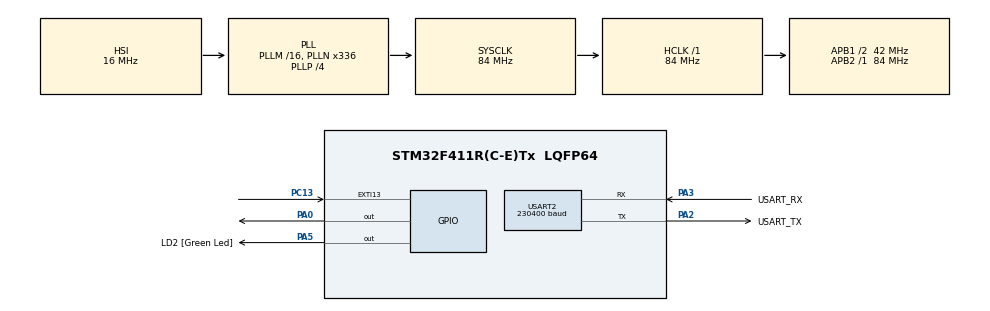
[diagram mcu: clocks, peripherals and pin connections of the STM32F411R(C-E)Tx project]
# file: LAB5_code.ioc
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Dma.Request0=USART2_RX
Dma.Request1=USART2_TX
Dma.USART2_RX.0.Direction=DMA_PERIPH_TO_MEMORY
Dma.USART2_RX.0.FIFOMode=DMA_FIFOMODE_DISABLE
Dma.USART2_RX.0.Instance=DMA1_Stream5
Dma.USART2_RX.0.MemDataAlignment=DMA_MDATAALIGN_BYTE
Dma.USART2_RX.0.MemInc=DMA_MINC_ENABLE
Dma.USART2_RX.0.Mode=DMA_CIRCULAR
Dma.USART2_RX.0.PeriphDataAlignment=DMA_PDATAALIGN_BYTE
Dma.USART2_RX.0.PeriphInc=DMA_PINC_DISABLE
Dma.USART2_RX.0.Priority=DMA_PRIORITY_LOW
Dma.USART2_TX.1.Direction=DMA_MEMORY_TO_PERIPH
Dma.USART2_TX.1.FIFOMode=DMA_FIFOMODE_DISABLE
Dma.USART2_TX.1.Instance=DMA1_Stream6
Dma.USART2_TX.1.MemDataAlignment=DMA_MDATAALIGN_BYTE
Dma.USART2_TX.1.MemInc=DMA_MINC_ENABLE
Dma.USART2_TX.1.Mode=DMA_NORMAL
Dma.USART2_TX.1.PeriphDataAlignment=DMA_PDATAALIGN_BYTE
Dma.USART2_TX.1.PeriphInc=DMA_PINC_DISABLE
Dma.USART2_TX.1.Priority=DMA_PRIORITY_LOW
Mcu.Family=STM32F4
Mcu.Name=STM32F411R(C-E)Tx
Mcu.Package=LQFP64
NVIC.DMA1_Stream5_IRQn=true\:0\:0\:false\:false\:true\:false\:true\:true
NVIC.DMA1_Stream6_IRQn=true\:0\:0\:false\:false\:true\:false\:true\:true
NVIC.PriorityGroup=NVIC_PRIORITYGROUP_0
NVIC.USART2_IRQn=true\:0\:0\:false\:false\:true\:true\:true\:true
PA0-WKUP.Signal=GPIO_Output
PA13.GPIO_Label=TMS
PA13.Mode=Serial_Wire
PA13.Signal=SYS_JTMS-SWDIO
PA14.GPIO_Label=TCK
PA14.Mode=Serial_Wire
PA14.Signal=SYS_JTCK-SWCLK
PA2.GPIO_Label=USART_TX
PA2.Mode=Asynchronous
PA2.Signal=USART2_TX
PA3.GPIO_Label=USART_RX
PA3.Mode=Asynchronous
PA3.Signal=USART2_RX
PA5.GPIO_Label=LD2 [Green Led]
PA5.Signal=GPIO_Output
PB3.GPIO_Label=SWO
PB3.Signal=SYS_JTDO-SWO
PC13-ANTI_TAMP.GPIO_ModeDefaultEXTI=GPIO_MODE_IT_FALLING
PC13-ANTI_TAMP.Signal=GPXTI13
PC14-OSC32_IN.Mode=LSE-External-Oscillator
PC14-OSC32_IN.Signal=RCC_OSC32_IN
PC15-OSC32_OUT.Mode=LSE-External-Oscillator
PC15-OSC32_OUT.Signal=RCC_OSC32_OUT
PH0\ -\ OSC_IN.Mode=HSE-External-Clock-Source
PH0\ -\ OSC_IN.Signal=RCC_OSC_IN
PH1\ -\ OSC_OUT.Mode=HSE-External-Clock-Source
PH1\ -\ OSC_OUT.Signal=RCC_OSC_OUT
ProjectManager.HeapSize=0x200
ProjectManager.StackSize=0x400
ProjectManager.TargetToolchain=STM32CubeIDE
RCC.48MHZClocksFreq_Value=84000000
RCC.AHBFreq_Value=84000000
RCC.APB1CLKDivider=RCC_HCLK_DIV2
RCC.APB1Freq_Value=42000000
RCC.APB1TimFreq_Value=84000000
RCC.APB2Freq_Value=84000000
RCC.APB2TimFreq_Value=84000000
RCC.CortexFreq_Value=84000000
RCC.FLatency-AdvancedSettings=FLASH_LATENCY_2
RCC.HCLKFreq_Value=84000000
RCC.HSE_VALUE=8000000
RCC.HSI_VALUE=16000000
RCC.PLLN=336
RCC.PLLP=RCC_PLLP_DIV4
RCC.SYSCLKFreq_VALUE=84000000
RCC.SYSCLKSource=RCC_SYSCLKSOURCE_PLLCLK
RCC.VCOOutputFreq_Value=336000000
USART2.BaudRate=230400
USART2.Parity=PARITY_EVEN
USART2.StopBits=STOPBITS_2
USART2.VirtualMode=VM_ASYNC
USART2.WordLength=WORDLENGTH_9B
board=NUCLEO-F411RE

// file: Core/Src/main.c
/* USER CODE BEGIN Header */
/**
  ******************************************************************************
  * @file           : main.c
  * @brief          : Main program body
  ******************************************************************************
  * @attention
  *
  * Copyright (c) 2023 STMicroelectronics.
  * All rights reserved.
  *
  * This software is licensed under terms that can be found in the LICENSE file
  * in the root directory of this software component.
  * If no LICENSE file comes with this software, it is provided AS-IS.
  *
  ******************************************************************************
  */
/* USER CODE END Header */
#include "main.h"

/* USER CODE BEGIN Includes */
#include "stdio.h"
#include "string.h"
/* USER CODE END Includes */

UART_HandleTypeDef huart2;
DMA_HandleTypeDef hdma_usart2_rx;
DMA_HandleTypeDef hdma_usart2_tx;

/* USER CODE BEGIN PV */
uint8_t RxBuffer[20]; //start_bit+massage_bit+(stop_bit x2) //add another 1 bit for make sure that have enough space for bits
uint8_t TxBuffer[60];
uint8_t text1[200];
uint8_t text2[200];
uint8_t text3[60];
uint8_t text4[21];
uint8_t text5[55];
//float time_to_trick ;
int count_hz = 0;
int x;
int j = 1;
//int count_hz ;
//int x;
//uint32_t count_hz;
//int time_to_trick ;
//int time_sec_hz;
//int time_to_trick ;
//int time_sec_hz ;
//int x;

//int mode = 0;
//uint32_t control_hz;
int8_t p;
int8_t on_off = 1;
uint32_t time_to_trick;
uint8_t state;
//uint8_t count_hz = 0;
//uint32_t time_to_trick;

enum Status{select_mode,LED_Control,button_status};

enum Status status = select_mode;

//uint32_t mode = 0;
/* USER CODE END PV */

void SystemClock_Config(void);
static void MX_GPIO_Init(void);
static void MX_DMA_Init(void);
static void MX_USART2_UART_Init(void);
/* USER CODE BEGIN PFP */
void Dummytask();
void uartdmaconfig();
void mode();
void button_loop();
/* USER CODE END PFP */

int main(void)
{

  /* MCU Configuration--------------------------------------------------------*/

  /* Reset of all peripherals, Initializes the Flash interface and the Systick. */
  HAL_Init();

  /* Configure the system clock */
  SystemClock_Config();

  /* Initialize all configured peripherals */
  MX_GPIO_Init();
  MX_DMA_Init();
  MX_USART2_UART_Init();
  /* USER CODE BEGIN 2 */
//uint8_t text[] = "HELLO BEST";
//HAL_UART_Transmit(&huart2, text, 11, 10);
//sprintf((char*)TxBuffer,"  Choose your menu\r\n-----------------\r\n{0} LED Control\r\n{1} Button Status\r\n-------------------\r\n\r\n\r\n\r\n\r\n");
//HAL_UART_Transmit_IT(&huart2, TxBuffer, strlen((char*)TxBuffer));
//uartdmaconfig();

  /* USER CODE END 2 */

  /* Infinite loop */
  /* USER CODE BEGIN WHILE */
  sprintf((char*)text1,"Choose your menu\n\r*******************\r\n(0) LED Control\r\n(1) Button Status\r\n*******************\r\nAnd Don't Forget it!!!!\r\n\r\n\r\n\r\n");
  HAL_UART_Transmit_IT( &huart2, text1, strlen((char*)text1));
  //uartdmaconfig();
  while (1)
  {
	  //mode();
	  Dummytask();
//	  uartdmaconfig();
	  uartdmaconfig();
	  HAL_GPIO_TogglePin(GPIOA, GPIO_PIN_0);
//	  mode();
	  //uartdmaconfig();
    /* USER CODE END WHILE */

  }
}

void SystemClock_Config(void)
{
  RCC_OscInitTypeDef RCC_OscInitStruct = {0};
  RCC_ClkInitTypeDef RCC_ClkInitStruct = {0};

  /** Configure the main internal regulator output voltage
  */
  __HAL_RCC_PWR_CLK_ENABLE();
  __HAL_PWR_VOLTAGESCALING_CONFIG(PWR_REGULATOR_VOLTAGE_SCALE1);

  /** Initializes the RCC Oscillators according to the specified parameters
  * in the RCC_OscInitTypeDef structure.
  */
  RCC_OscInitStruct.OscillatorType = RCC_OSCILLATORTYPE_HSI;
  RCC_OscInitStruct.HSIState = RCC_HSI_ON;
  RCC_OscInitStruct.HSICalibrationValue = RCC_HSICALIBRATION_DEFAULT;
  RCC_OscInitStruct.PLL.PLLState = RCC_PLL_ON;
  RCC_OscInitStruct.PLL.PLLSource = RCC_PLLSOURCE_HSI;
  RCC_OscInitStruct.PLL.PLLM = 16;
  RCC_OscInitStruct.PLL.PLLN = 336;
  RCC_OscInitStruct.PLL.PLLP = RCC_PLLP_DIV4;
  RCC_OscInitStruct.PLL.PLLQ = 4;
  if (HAL_RCC_OscConfig(&RCC_OscInitStruct) != HAL_OK)
  {
    Error_Handler();
  }

  /** Initializes the CPU, AHB and APB buses clocks
  */
  RCC_ClkInitStruct.ClockType = RCC_CLOCKTYPE_HCLK|RCC_CLOCKTYPE_SYSCLK
                              |RCC_CLOCKTYPE_PCLK1|RCC_CLOCKTYPE_PCLK2;
  RCC_ClkInitStruct.SYSCLKSource = RCC_SYSCLKSOURCE_PLLCLK;
  RCC_ClkInitStruct.AHBCLKDivider = RCC_SYSCLK_DIV1;
  RCC_ClkInitStruct.APB1CLKDivider = RCC_HCLK_DIV2;
  RCC_ClkInitStruct.APB2CLKDivider = RCC_HCLK_DIV1;

  if (HAL_RCC_ClockConfig(&RCC_ClkInitStruct, FLASH_LATENCY_2) != HAL_OK)
  {
    Error_Handler();
  }
}

static void MX_USART2_UART_Init(void)
{

  huart2.Instance = USART2;
  huart2.Init.BaudRate = 230400;
  huart2.Init.WordLength = UART_WORDLENGTH_9B;
  huart2.Init.StopBits = UART_STOPBITS_2;
  huart2.Init.Parity = UART_PARITY_EVEN;
  huart2.Init.Mode = UART_MODE_TX_RX;
  huart2.Init.HwFlowCtl = UART_HWCONTROL_NONE;
  huart2.Init.OverSampling = UART_OVERSAMPLING_16;
  if (HAL_UART_Init(&huart2) != HAL_OK)
  {
    Error_Handler();
  }

}

static void MX_DMA_Init(void)
{

  /* DMA controller clock enable */
  __HAL_RCC_DMA1_CLK_ENABLE();

  /* DMA interrupt init */
  /* DMA1_Stream5_IRQn interrupt configuration */
  HAL_NVIC_SetPriority(DMA1_Stream5_IRQn, 0, 0);
  HAL_NVIC_EnableIRQ(DMA1_Stream5_IRQn);
  /* DMA1_Stream6_IRQn interrupt configuration */
  HAL_NVIC_SetPriority(DMA1_Stream6_IRQn, 0, 0);
  HAL_NVIC_EnableIRQ(DMA1_Stream6_IRQn);

}

static void MX_GPIO_Init(void)
{
  GPIO_InitTypeDef GPIO_InitStruct = {0};

  /* GPIO Ports Clock Enable */
  __HAL_RCC_GPIOC_CLK_ENABLE();
  __HAL_RCC_GPIOH_CLK_ENABLE();
  __HAL_RCC_GPIOA_CLK_ENABLE();
  __HAL_RCC_GPIOB_CLK_ENABLE();

  /*Configure GPIO pin Output Level */
  HAL_GPIO_WritePin(GPIOA, GPIO_PIN_0|LD2_Pin, GPIO_PIN_RESET);

  /*Configure GPIO pin : PC13 */
  GPIO_InitStruct.Pin = GPIO_PIN_13;
  GPIO_InitStruct.Mode = GPIO_MODE_IT_FALLING;
  GPIO_InitStruct.Pull = GPIO_NOPULL;
  HAL_GPIO_Init(GPIOC, &GPIO_InitStruct);

  /*Configure GPIO pins : PA0 LD2_Pin */
  GPIO_InitStruct.Pin = GPIO_PIN_0|LD2_Pin;
  GPIO_InitStruct.Mode = GPIO_MODE_OUTPUT_PP;
  GPIO_InitStruct.Pull = GPIO_NOPULL;
  GPIO_InitStruct.Speed = GPIO_SPEED_FREQ_LOW;
  HAL_GPIO_Init(GPIOA, &GPIO_InitStruct);

}

/* USER CODE BEGIN 4 */
void Dummytask()
{
//		if (x<=0){
//			x = 0;
//			count_hz = 0;
//		}
		uint32_t time_sec_hz ;
		uint32_t time_to_trick;
		time_sec_hz = 1000/count_hz;
		time_to_trick = time_sec_hz/2;
		static uint32_t timestamp=0;
			if(HAL_GetTick()>=timestamp && on_off == 1 ){
				timestamp = HAL_GetTick()+ time_to_trick; //+100 = 5hz because on&off used 200ms ->1000/200 s = 5 cycle = 5hz
				//timestamp = HAL_GetTick()+ 500;
				HAL_GPIO_TogglePin(LD2_GPIO_Port, LD2_Pin);
//				if(p != 1 ){
//					sprintf((char*)TxBuffer,"On LED now.. \r\n ");
//					//p = on_off;
//					HAL_UART_Transmit_DMA(&huart2, TxBuffer, strlen((char*)TxBuffer));
//				}
				//p = on_off;
			}
			else if (on_off != 1) {
//				p = on_off;
				HAL_GPIO_WritePin(GPIOA, GPIO_PIN_5 , GPIO_PIN_RESET);
				sprintf((char*)TxBuffer,"Sorry LED out of service right now... \r\n ");
//				p = on_off;
				HAL_UART_Transmit_DMA(&huart2, TxBuffer, strlen((char*)TxBuffer));
				//p = on_off;
			}
//			p = on_off;
	}

//void uartdmaconfig(){
//	HAL_UART_Receive_DMA(&huart2, RxBuffer, 1);
//
//}

void uartdmaconfig(){
	//start  UART in DMA Mode
	HAL_UART_Receive_DMA(&huart2, RxBuffer, 1);
	state = HAL_GPIO_ReadPin(GPIOC, GPIO_PIN_13);

	if (RxBuffer[0] == '1' ){
			state = HAL_GPIO_ReadPin(GPIOC, GPIO_PIN_13);
			if(!state){
				//sprintf((char*)TxBuffer,"Received : Press \r\n");
				//HAL_UART_Transmit_IT(&huart2, TxBuffer, strlen((char*)TxBuffer));
				sprintf((char*)TxBuffer,"Received :   press \r\n");
				HAL_UART_Transmit_DMA(&huart2, TxBuffer, strlen((char*)TxBuffer));
			}
			else if(state){
				sprintf((char*)TxBuffer,"Received : Unpress \r\n");
				HAL_UART_Transmit_DMA(&huart2, TxBuffer, strlen((char*)TxBuffer));
			}if(RxBuffer[0] == 'x'){
				if( TxBuffer[20] == '\n' && TxBuffer[11]=='M'){
//				sprintf((char*)TxBuffer,"Back                                            ");
//				HAL_UART_Transmit_IT(&huart2, TxBuffer, strlen((char*)TxBuffer));
//				sprintf((char*)TxBuffer,"Select Menu 1/0 \r\n");
//				HAL_UART_Transmit_IT(&huart2, TxBuffer, strlen((char*)TxBuffer));
					TxBuffer[0] = '\000';TxBuffer[1] = '\000';TxBuffer[2] = '\000';TxBuffer[3] = '\000';TxBuffer[4] = '\000';TxBuffer[5] = '\000';TxBuffer[6] = '\000';TxBuffer[7] = '\000';TxBuffer[8] = '\000';TxBuffer[9] = '\000';TxBuffer[10] = '\000';TxBuffer[11] = '\000';TxBuffer[12] = '\000';TxBuffer[13] = '\000';TxBuffer[14] = '\000';TxBuffer[15] = '\000';TxBuffer[16] = '\000';TxBuffer[17] = '\000';TxBuffer[18] = '\000';TxBuffer[19] = '\000';TxBuffer[20] = '\000';TxBuffer[21] = '\000';TxBuffer[22] = '\000';TxBuffer[23] = '\000';TxBuffer[24] = '\000';TxBuffer[25] = '\000';TxBuffer[26] = '\000';TxBuffer[27] = '\000';TxBuffer[28] = '\000';TxBuffer[29] = '\000';TxBuffer[30]  = '\000';
					//HAL_UART_Transmit_IT(&huart2, TxBuffer, strlen((char*)TxBuffer));}
//					sprintf((char*)text2,"Choose your menu\n\r-----------------\r\n{0} LED Control\r\n{1} Button Status\r\n-------------------\r\nAnd Don't Forget it!!!!\r\n\r\n\r\n\r\n");
//					HAL_UART_Transmit_IT( &huart2, text2, strlen((char*)text2));
					status = select_mode;}
			}
//				sprintf((char*)TxBuffer,"Back                                            ");
//				HAL_UART_Transmit_IT(&huart2, TxBuffer, strlen((char*)TxBuffer));}

//			}
		}

	}

//void HAL_UART_RxCpltCallback(UART_HandleTypeDef *huart)
//{
//	if(huart == &huart2)
//	{
//		RxBuffer[2] = '\0';
//
//		HAL_UART_Transmit_IT(&huart2, TxBuffer, strlen((char*)TxBuffer));
//
//		HAL_UART_Receive_IT(&huart2, RxBuffer, 1);
//	}
//}

void HAL_UART_RxCpltCallback(UART_HandleTypeDef *huart){
//	 sprintf((char*)text1,"  Choose your menu\r\n-----------------\r\n{0} LED Control\r\n{1} Button Status\r\n-------------------\r\n\r\n\r\n\r\n\r\n");
//	 HAL_UART_Transmit_IT( &huart2, text1, strlen((char*)text1));

		switch(status){
//		sprintf((char*)text2,"Choose your menu\n\r-----------------\r\n{0} LED Control\r\n{1} Button Status\r\n-------------------\r\nAnd Don't Forget it!!!!\r\n\r\n\r\n\r\n");
//						HAL_UART_Transmit_IT( &huart2, text2, strlen((char*)text2));
			case select_mode:
//				sprintf((char*)TxBuffer,"Received : Menu    \r\n");
//				HAL_UART_Transmit_IT(&huart2, TxBuffer, strlen((char*)TxBuffer));
//				sprintf((char*)text2,"Choose your menu\n\r-----------------\r\n{0} LED Control\r\n{1} Button Status\r\n-------------------\r\nAnd Don't Forget it!!!!\r\n\r\n\r\n\r\n");
//				HAL_UART_Transmit_IT( &huart2, text2, strlen((char*)text2));
				j=0;
				TxBuffer[0] = 0;TxBuffer[1] = '\000';TxBuffer[2] = '\000';TxBuffer[3] = '\000';TxBuffer[4] = '\000';TxBuffer[5] = '\000';TxBuffer[6] = '\000';TxBuffer[7] = '\000';TxBuffer[8] = '\000';TxBuffer[9] = '\000';TxBuffer[10] = '\000';TxBuffer[11] = '\000';TxBuffer[12] = '\000';TxBuffer[13] = '\000';TxBuffer[14] = '\000';TxBuffer[15] = '\000';TxBuffer[16] = '\000';TxBuffer[17] = '\000';TxBuffer[18] = '\000';TxBuffer[19] = '\000';TxBuffer[20] = '\000';TxBuffer[21] = '\000';TxBuffer[22] = '\000';TxBuffer[23] = '\000';TxBuffer[24] = '\000';TxBuffer[25] = '\000';TxBuffer[26] = '\000';TxBuffer[27] = '\000';TxBuffer[28] = '\000';TxBuffer[29] = '\000';TxBuffer[30]  = '\000';
				if (j == 0 && RxBuffer[0]=='x' ){
					//TxBuffer = [];
					TxBuffer[0] = '\000';TxBuffer[1] = '\000';TxBuffer[2] = '\000';TxBuffer[3] = '\000';TxBuffer[4] = '\000';TxBuffer[5] = '\000';TxBuffer[6] = '\000';TxBuffer[7] = '\000';TxBuffer[8] = '\000';TxBuffer[9] = '\000';TxBuffer[10] = '\000';TxBuffer[11] = '\000';TxBuffer[12] = '\000';TxBuffer[13] = '\000';TxBuffer[14] = '\000';TxBuffer[15] = '\000';TxBuffer[16] = '\000';TxBuffer[17] = '\000';TxBuffer[18] = '\000';TxBuffer[19] = '\000';TxBuffer[20] = '\000';TxBuffer[21] = '\000';TxBuffer[22] = '\000';TxBuffer[23] = '\000';TxBuffer[24] = '\000';TxBuffer[25] = '\000';TxBuffer[26] = '\000';TxBuffer[27] = '\000';TxBuffer[28] = '\000';TxBuffer[29] = '\000';TxBuffer[30]  = '\000';
//					sprintf((char*)TxBuffer,"Received : Menu    \r\n");
//					HAL_UART_Transmit_IT(&huart2, TxBuffer, strlen((char*)TxBuffer));
					sprintf((char*)text2,"\r\n\r\n\r\nChoose your menu\n\r*******************\r\n(0) LED Control\r\n(1) Button Status\r\n*******************\r\nAnd Don't Forget it!!!!\r\n\r\n\r\n\r\n");
					HAL_UART_Transmit_IT( &huart2, text2, strlen((char*)text2));
					RxBuffer[0] = '\000';
				}

				if(RxBuffer[0] == '0' ){
					status = LED_Control;
					sprintf((char*)TxBuffer,"Received : LED_CONTROL \r\n");
					HAL_UART_Transmit_DMA(&huart2, TxBuffer, strlen((char*)TxBuffer));
					RxBuffer[0] = '\000';
//				}else if(RxBuffer[0] == '1' ){
//					status = button_status;
//					sprintf((char*)TxBuffer,"Received : BUTTON_STATUS \r\n");
//					HAL_UART_Transmit_IT(&huart2, TxBuffer, strlen((char*)TxBuffer));
//					RxBuffer[0] = '\000';
				}else if(RxBuffer[0] != '0' && RxBuffer[0] != '1' && RxBuffer[0] != '\000' && RxBuffer[0] != '\0'  ){
					RxBuffer[0] = '\000';
					sprintf((char*)TxBuffer,"\n\rPlease Select menu again\r\n");//please type your selection again!!!
					HAL_UART_Transmit_IT(&huart2, TxBuffer, strlen((char*)TxBuffer));
				}
				break;

			case LED_Control:

				if(RxBuffer[0] == 'a'){
					count_hz += 1;
					x = count_hz;
//					if (x>=0){
//						x = 30;
//					}
//					x = count_hz;

					sprintf((char*)TxBuffer,"Received speed right Now!!! LED_ON %d\r\n",x);
					HAL_UART_Transmit_DMA(&huart2, TxBuffer, strlen((char*)TxBuffer));
				}else if(RxBuffer[0] == 's'){
					count_hz -= 1;
					x = count_hz;
					if (x<0||count_hz<0){
						x = 0;
						count_hz = 0;
					}
//					if (x<=0){
//						x = 0;
//						count_hz = 0;
//					}
					sprintf((char*)TxBuffer,"Received speed right Now!!! LED_ON %d\r\n",x);
					HAL_UART_Transmit_DMA(&huart2, TxBuffer, strlen((char*)TxBuffer));
				}
					else if(RxBuffer[0] == 'd'){
						on_off *= -1;
						RxBuffer[0] = '\000';
//						if (on_off == 1 && p == 0){
//					}

//						sprintf((char*)TxBuffer,"\r\n\r\n\r\n\r\n\r\n\r\nReceived speed right Now!!! %d\r\n",x);
//						HAL_UART_Transmit_DMA(&huart2, TxBuffer, strlen((char*)TxBuffer));
					}
				else if(RxBuffer[0] == 'x'){
					sprintf((char*)TxBuffer,"Received : Back to Menu \r\n");
					HAL_UART_Transmit_DMA(&huart2, TxBuffer, strlen((char*)TxBuffer));
					status = select_mode;
					RxBuffer[0] = '\000';
				}else if(RxBuffer[0] != 'a' && RxBuffer[0] != 's' && RxBuffer[0] != 'd' && RxBuffer[0] != 'x' && RxBuffer[0] != '\000' && RxBuffer[0] != '\0'){
					RxBuffer[0] = '\000';
					sprintf((char*)TxBuffer,"Received : error  \r\n");
					HAL_UART_Transmit_DMA(&huart2, TxBuffer, strlen((char*)TxBuffer));
				}
				break;
		}
//				sprintf((char*)TxBuffer,"Received : hi \r\n");
//				HAL_UART_Transmit_IT(&huart2, TxBuffer, strlen((char*)TxBuffer));}

//			case button_status:
////				uint8_t text2[52];
////				uint8_t text3[46];
////				uint8_t text4[20];
//
//				state = HAL_GPIO_ReadPin(GPIOC, GPIO_PIN_13);
//				if(state == 0){
//					sprintf((char*)TxBuffer,"Received : You Press the button right now!!! \r\n");
//					HAL_UART_Transmit_IT(&huart2, TxBuffer, strlen((char*)TxBuffer));
//				}
//				else if(state == 1){
//					sprintf((char*)TxBuffer,"Received : You Un_press the button...  \r\n");
//					HAL_UART_Transmit_IT(&huart2, TxBuffer, strlen((char*)TxBuffer));;
//				}if(RxBuffer[0] == 'x'){
//					sprintf((char*)TxBuffer,"Received : Menu \r\n");
//					HAL_UART_Transmit_IT(&huart2, TxBuffer, strlen((char*)TxBuffer));
//					status = select_mode;
//					RxBuffer[0] = '\000';
//				}else if(RxBuffer[0] != 'x' && RxBuffer[0] != '\000' && RxBuffer[0] != '\0'){
//					RxBuffer[0] = '\000';
//					sprintf((char*)TxBuffer,"Received : error \r\n");
//					HAL_UART_Transmit_IT(&huart2, TxBuffer, strlen((char*)TxBuffer));
//					//TxBuffer=0;
//				}
//				break;
//		}
	}

//}

/* USER CODE END 4 */

void Error_Handler(void)
{
  __disable_irq();
  while (1)
  {
  }
}
